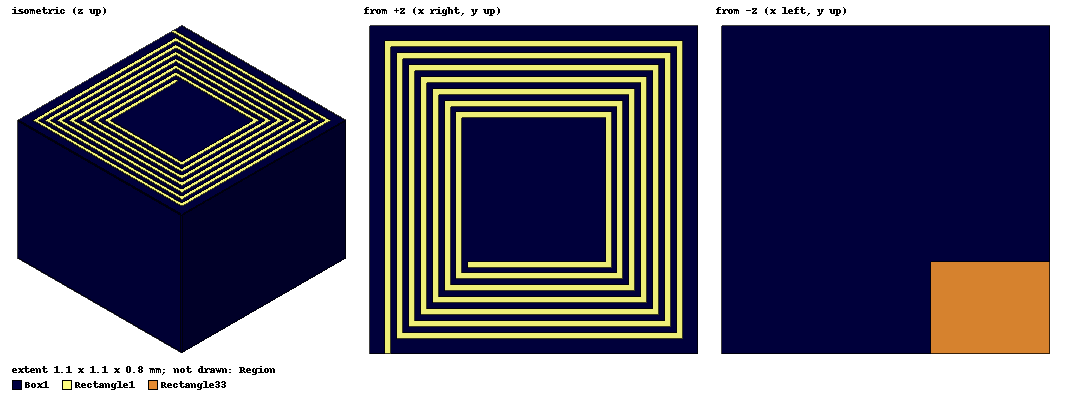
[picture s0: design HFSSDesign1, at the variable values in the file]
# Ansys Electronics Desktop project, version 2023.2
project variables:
  $subs = 0.8mm
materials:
  vacuum: permittivity=1
  FR4_epoxy: permittivity=4.4 dielectric_loss_tangent=0.02
  air: permittivity=1.0006 permeability=1.0000004

design HFSSDesign1 (HFSS, HFSS Terminal Network, model units mm)
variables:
  w = 0.02mm
  Dout = 2mm
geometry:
  Rectangle1 = rectangle(corner=(0mm, 0mm, 0mm), x_size=w, y_size=1mm)
  Rectangle2 = rectangle(corner=(0mm, 1mm, 0mm), x_size=1mm, y_size=-w)
  Rectangle3 = rectangle(corner=(1mm, 1mm, 0mm), x_size=-w, y_size=-1mm)
  Rectangle5 = rectangle(corner=(0.04mm, 0mm, 0mm), x_size=0.96mm, y_size=0.02mm)
  Rectangle6 = rectangle(corner=(0.04mm, 0mm, 0mm), x_size=0.02mm, y_size=0.96mm)
  Rectangle7 = rectangle(corner=(0.04mm, 0.94mm, 0mm), x_size=0.92mm, y_size=0.02mm)
  Rectangle8 = rectangle(corner=(0.96mm, 0.96mm, 0mm), x_size=-0.02mm, y_size=-0.92mm)
  Rectangle9 = rectangle(corner=(0.96mm, 0.04mm, 0mm), x_size=-0.88mm, y_size=0.02mm)
  Rectangle10 = rectangle(corner=(0.08mm, 0.04mm, 0mm), x_size=0.02mm, y_size=0.88mm)
  Rectangle11 = rectangle(corner=(0.08mm, 0.9mm, 0mm), x_size=0.84mm, y_size=0.02mm)
  Rectangle12 = rectangle(corner=(0.92mm, 0.92mm, 0mm), x_size=-0.02mm, y_size=-0.84mm)
  Rectangle13 = rectangle(corner=(0.92mm, 0.08mm, 0mm), x_size=-0.8mm, y_size=0.02mm)
  Rectangle14 = rectangle(corner=(0.12mm, 0.08mm, 0mm), x_size=0.02mm, y_size=0.8mm)
  Rectangle15 = rectangle(corner=(0.12mm, 0.86mm, 0mm), x_size=0.76mm, y_size=0.02mm)
  Rectangle16 = rectangle(corner=(0.88mm, 0.88mm, 0mm), x_size=-0.02mm, y_size=-0.76mm)
  Rectangle17 = rectangle(corner=(0.88mm, 0.12mm, 0mm), x_size=-0.72mm, y_size=0.02mm)
  Rectangle18 = rectangle(corner=(0.16mm, 0.12mm, 0mm), x_size=0.02mm, y_size=0.72mm)
  Rectangle19 = rectangle(corner=(0.16mm, 0.82mm, 0mm), x_size=0.68mm, y_size=0.02mm)
  Rectangle20 = rectangle(corner=(0.84mm, 0.84mm, 0mm), x_size=-0.02mm, y_size=-0.68mm)
  Rectangle21 = rectangle(corner=(0.84mm, 0.16mm, 0mm), x_size=-0.64mm, y_size=0.02mm)
  Rectangle22 = rectangle(corner=(0.2mm, 0.16mm, 0mm), x_size=0.02mm, y_size=0.64mm)
  Rectangle23 = rectangle(corner=(0.2mm, 0.78mm, 0mm), x_size=0.6mm, y_size=0.02mm)
  Rectangle24 = rectangle(corner=(0.8mm, 0.8mm, 0mm), x_size=-0.02mm, y_size=-0.6mm)
  Rectangle25 = rectangle(corner=(0.8mm, 0.2mm, 0mm), x_size=-0.56mm, y_size=0.02mm)
  Rectangle26 = rectangle(corner=(0.24mm, 0.2mm, 0mm), x_size=0.02mm, y_size=0.56mm)
  Rectangle27 = rectangle(corner=(0.24mm, 0.74mm, 0mm), x_size=0.52mm, y_size=0.02mm)
  Rectangle28 = rectangle(corner=(0.76mm, 0.75mm, 0mm), x_size=-0.02mm, y_size=-0.51mm)
  Rectangle29 = rectangle(corner=(0.76mm, 0.24mm, 0mm), x_size=-0.48mm, y_size=0.02mm)
  Rectangle1.unite(Rectangle2, Rectangle3, Rectangle5..Rectangle29)
  Box1 [FR4_epoxy] = box(corner=(-0.05mm, -0.05mm, 0mm), size=(1.1mm, 1.1mm, -$subs))
  Rectangle30 = rectangle(corner=(0mm, 0mm, 0mm), x_size=0.02mm, y_size=-0.05mm)
  Rectangle1.unite(Rectangle30)
  Rectangle31 = rectangle(corner=(0mm, -0.05mm, 0mm), z_size=-$subs, x_size=0.02mm)
  Rectangle32 = rectangle(corner=(0.28mm, 0.26mm, 0mm), z_size=-$subs, x_size=w)
  Rectangle33 = rectangle(corner=(-0.05mm, -0.05mm, -$subs), x_size=0.4mm, y_size=0.31mm)
  Region [air] = region(percentage_offset=34.58 on all sides)
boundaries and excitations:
  PerfE1: Perfect E Objects=[Rectangle1, Rectangle32, Rectangle33]
  Rad1: Radiation Objects=Region
  1: Lumped Port Objects=Rectangle31 LumpedPortType=Modal Modes{Mode1{IntLine{(0.01, -0.05, -0.8) -> (0.01, -0.05, 0)} CharImp=Zpi RenormImp=50ohm}} Impedance=50ohm
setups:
  Setup1: HfssDriven Frequency=0.868GHz MaxDeltaS=0.02 MaximumPasses=20 MinimumPasses=1 MinimumConvergedPasses=1 PercentRefinement=30 BasisOrder=1 PortAccuracy=2 DrivenSolverType="Direct Solver"
    sweep Sweep: 0.434GHz to 4GHz, 401 points; Type=Interpolating InterpTolerance=0.5 InterpMaxSolns=250 PassivityErrorTolerance=0.0001
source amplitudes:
  1:1: 1V 0deg
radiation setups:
  Infinite Sphere1: Infinite Sphere Theta=0deg..360deg step 2deg Phi=-180deg..180deg step 2deg
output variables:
  L1 = (-1*10^9)/(2*3.14*868000000*im(Yt(1,1)))
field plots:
  Mag_E1: E Field in Region on Setup1 : LastAdaptive at Freq=0.868GHz Phase=0deg
  Mag_H1: H Field in Region on Setup1 : LastAdaptive at Freq=0.868GHz Phase=0deg
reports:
  Terminal Y Parameter: dB(Yt(1,1)) vs Freq on Setup1 : Sweep [w=all Dout=all $subs=all]
  Terminal Y Parameter1: dB(Yt(1,1)) vs Pass on Setup1 : AdaptivePass [Freq=all w=all Dout=all $subs=all]
  Output Variables Plot 1: L1 vs Freq on Setup1 : Sweep [w=all Dout=all $subs=all]; markers MX1 at x=8.6896552e+08
